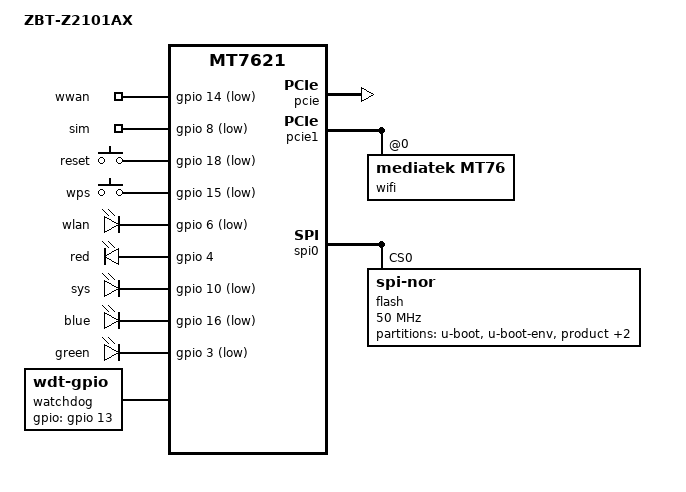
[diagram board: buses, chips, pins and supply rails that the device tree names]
// SPDX-License-Identifier: GPL-2.0-or-later OR MIT

#include "mt7621.dtsi"

#include <dt-bindings/gpio/gpio.h>
#include <dt-bindings/input/input.h>

/ {
	compatible = "zbt,z2101ax", "mediatek,mt7621-soc";
	model = "ZBT-Z2101AX";

	aliases {
		label-mac-device = &gmac0;
		led-boot = &led_green;
		led-failsafe = &led_red;
		led-running = &led_blue;
		led-upgrade = &led_red;
	};

	chosen {
		bootargs = "console=ttyS0,115200";
		bootargs-override = "console=ttyS0,115200";
	};

	gpio_export {
                compatible = "gpio-export";

                wwan {
                        gpios = <&gpio 14 1>;
                        gpio-export,name = "wwan";
                        gpio-export,output = <1>;
                };

                sim {
                        gpios = <&gpio 8 1>;
                        gpio-export,name = "sim";
                        gpio-export,output = <1>;
                };

        };
		
	keys {
                compatible = "gpio-keys";

                reset {
                        label = "reset";
                        gpios = <&gpio 18 GPIO_ACTIVE_LOW>;
                        linux,code = <KEY_RESTART>;
                };

                wps {
                        label = "wps";
                        gpios = <&gpio 15 GPIO_ACTIVE_LOW>;
                        linux,code = <KEY_WPS_BUTTON>;
                };
	};
	leds {
		compatible = "gpio-leds";

                wlan {
                        gpios = <&gpio 6 GPIO_ACTIVE_LOW>;
                        label = "wlan";
                };

                led_red: red {
                        gpios = <&gpio 4 GPIO_ACTIVE_HIGH>;
                        label = "red";
                };

                sys {
                        gpios = <&gpio 10 GPIO_ACTIVE_LOW>;
                        label = "sys";
                };

                led_blue: blue {
                        gpios = <&gpio 16 GPIO_ACTIVE_LOW>;
                        label = "blue";
                };

                led_green: green {
                        gpios = <&gpio 3 GPIO_ACTIVE_LOW>;
                        label = "green";
                
		};
	};
	
	watchdog {
		compatible = "linux,wdt-gpio";
		gpios = <&gpio 13 GPIO_ACTIVE_HIGH>;
		hw_algo = "toggle";
		/* hw_margin_ms is actually ~120s but driver limits it to 60s */
		hw_margin_ms = <60000>;
		always-running;
	};
};

&pcie {
	status = "okay";
};

&pcie1 {
	wifi@0,0 {
		compatible = "mediatek,mt76";
		reg = <0x0000 0 0 0 0>;
		mediatek,mtd-eeprom = <&factory 0x0000>;
		mtd-mac-address = <&factory 0x4>;
		nvmem-cells = <&macaddr_factory_4>;
		nvmem-cell-names = "mac-address";
	};
};

&gmac0 {
	nvmem-cells = <&macaddr_factory_4>;
	nvmem-cell-names = "mac-address";
	mac-address-increment = <(2)>;
};

&switch0 {
	ports {
		
		port@1 {
			status = "okay";
			label = "lan1";
		};

		port@2 {
			status = "okay";
			label = "lan2";
		};

		port@3 {
			status = "okay";
			label = "lan3";
		};

		wan_port: port@4 {
			status = "okay";
			label = "wan";
			nvmem-cells = <&macaddr_factory_4>;
			nvmem-cell-names = "mac-address";
			mac-address-increment = <(3)>;
		};

	};
};

&state_default {
	gpio {
		groups = "i2c", "jtag", "wdt";
		function = "gpio";
	};
};

&spi0 {
	status = "okay";

	flash@0 {
		compatible = "jedec,spi-nor";
		reg = <0>;
		spi-max-frequency = <50000000>;

		partitions {
			compatible = "fixed-partitions";
			#address-cells = <1>;
			#size-cells = <1>;

			partition@0 {
				label = "u-boot";
				reg = <0x0 0x30000>;
				read-only;
			};

			partition@30000 {
				label = "u-boot-env";
				reg = <0x30000 0x10000>;
				read-only;
			};

			partition@40000 {
				label = "product";
				reg = <0x40000 0x10000>;
				read-only;
			};

			factory: partition@50000 {
				label = "factory";
				reg = <0x50000 0x40000>;
				read-only;
			};

			partition@90000 {
				compatible = "denx,fit";
				label = "firmware";
				reg = <0x90000 0xf70000>;
			};
		};
	};
};

&factory {
	compatible = "nvmem-cells";
	#address-cells = <1>;
	#size-cells = <1>;

	macaddr_factory_4: macaddr@4 {
		reg = <0x4 0x6>;
	};
};


